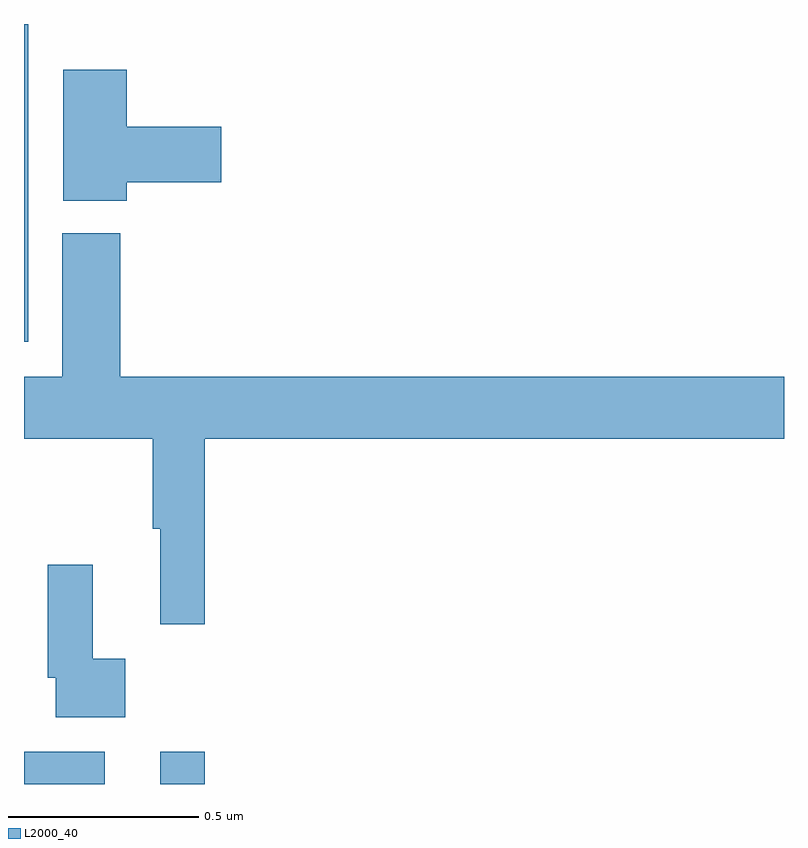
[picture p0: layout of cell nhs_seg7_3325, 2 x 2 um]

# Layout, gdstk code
import gdstk
lib = gdstk.Library(unit=1e-6, precision=1e-09)
def R(c, l, rs):  # rectangles x0, y0, x1, y1
    for r in rs: c.add(gdstk.rectangle(r[:2], r[2:], *l))
def P(c, l, *ps):  # polygons
    for p in ps: c.add(gdstk.Polygon(p, *l))
L2000_40 = (2000, 40)

nhs_seg7_3325 = lib.new_cell('nhs_seg7_3325')
R(nhs_seg7_3325, L2000_40, [(157,1041,157.213,1041.085), (157.358,1041,157.475,1041.085), (157,1042.164,157.011,1043)])
P(nhs_seg7_3325, L2000_40, [(157.27,1042.583),(157.519,1042.583),(157.519,1042.73),(157.27,1042.73),(157.27,1042.879),(157.103,1042.879),(157.103,1042.535),(157.27,1042.535)],
  [(157.1,1042.45),(157.1,1042.072),(157,1042.072),(157,1041.908),(157.339,1041.908),(157.339,1041.672),(157.358,1041.672),(157.358,1041.42),(157.475,1041.42),(157.475,1041.908),(159,1041.908),(159,1042.072),(157.253,1042.072),(157.253,1042.45)],
  [(157.267,1041.329),(157.181,1041.329),(157.181,1041.577),(157.063,1041.577),(157.063,1041.28),(157.083,1041.28),(157.083,1041.176),(157.267,1041.176)])

lib.write_gds('nhs_seg7_3325.gds')
